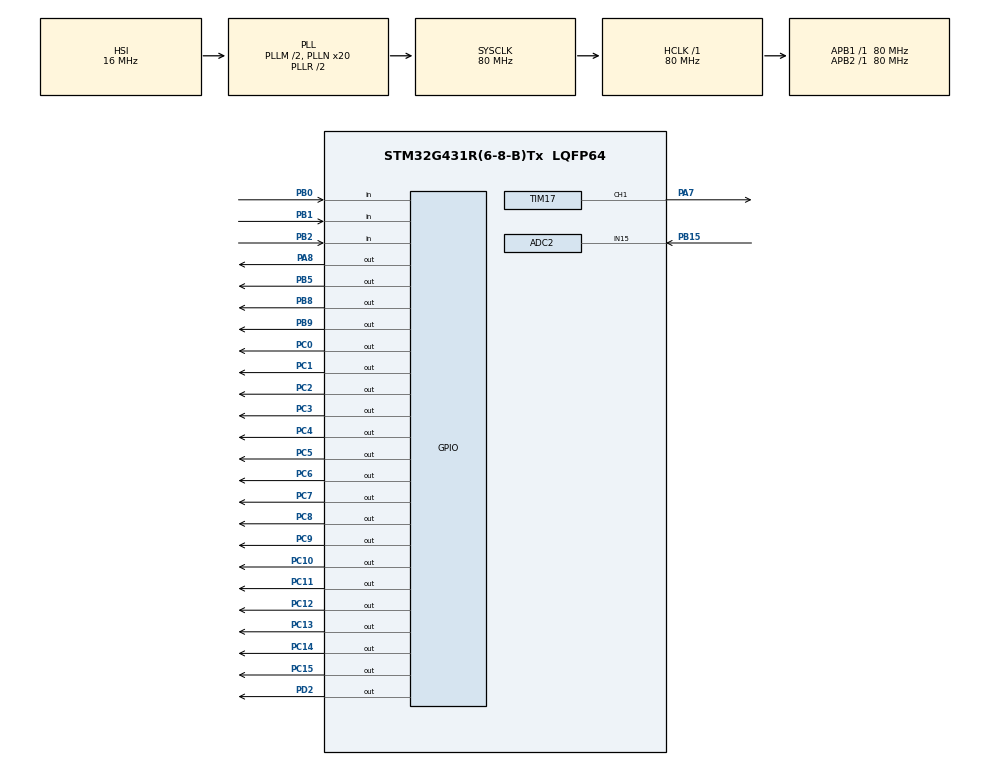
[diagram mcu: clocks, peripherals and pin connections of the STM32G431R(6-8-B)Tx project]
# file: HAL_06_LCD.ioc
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ADC2.Channel-0\#ChannelRegularConversion=ADC_CHANNEL_15
ADC2.NbrOfConversionFlag=1
ADC2.OffsetNumber-0\#ChannelRegularConversion=ADC_OFFSET_NONE
ADC2.Rank-0\#ChannelRegularConversion=1
ADC2.SamplingTime-0\#ChannelRegularConversion=ADC_SAMPLETIME_2CYCLES_5
Mcu.Family=STM32G4
Mcu.Name=STM32G431R(6-8-B)Tx
Mcu.Package=LQFP64
NVIC.PriorityGroup=NVIC_PRIORITYGROUP_4
NVIC.TIM3_IRQn=true\:0\:0\:false\:false\:true\:true\:true\:true
NVIC.TIM4_IRQn=true\:0\:0\:false\:false\:true\:true\:true\:true
PA7.Signal=S_TIM17_CH1
PA8.Signal=GPIO_Output
PB0.GPIO_Mode=GPIO_MODE_INPUT
PB0.GPIO_PuPd=GPIO_PULLUP
PB0.Signal=GPIO_Input
PB1.GPIO_Mode=GPIO_MODE_INPUT
PB1.GPIO_PuPd=GPIO_PULLUP
PB1.Signal=GPIO_Input
PB15.Mode=IN15-Single-Ended
PB15.Signal=ADC2_IN15
PB2.GPIO_Mode=GPIO_MODE_INPUT
PB2.GPIO_PuPd=GPIO_PULLUP
PB2.Signal=GPIO_Input
PB5.Signal=GPIO_Output
PB8-BOOT0.Signal=GPIO_Output
PB9.Signal=GPIO_Output
PC0.Signal=GPIO_Output
PC1.Signal=GPIO_Output
PC10.Signal=GPIO_Output
PC11.Signal=GPIO_Output
PC12.Signal=GPIO_Output
PC13.Signal=GPIO_Output
PC14-OSC32_IN.Signal=GPIO_Output
PC15-OSC32_OUT.Signal=GPIO_Output
PC2.Signal=GPIO_Output
PC3.Signal=GPIO_Output
PC4.Signal=GPIO_Output
PC5.Signal=GPIO_Output
PC6.Signal=GPIO_Output
PC7.Signal=GPIO_Output
PC8.Signal=GPIO_Output
PC9.Signal=GPIO_Output
PD2.Signal=GPIO_Output
PF0-OSC_IN.Mode=HSE-External-Oscillator
PF0-OSC_IN.Signal=RCC_OSC_IN
PF1-OSC_OUT.Mode=HSE-External-Oscillator
PF1-OSC_OUT.Signal=RCC_OSC_OUT
ProjectManager.HeapSize=0x200
ProjectManager.StackSize=0x400
ProjectManager.TargetToolchain=MDK-ARM V5.27
RCC.ADC12Freq_Value=80000000
RCC.AHBFreq_Value=80000000
RCC.APB1Freq_Value=80000000
RCC.APB1TimFreq_Value=80000000
RCC.APB2Freq_Value=80000000
RCC.APB2TimFreq_Value=80000000
RCC.CortexFreq_Value=80000000
RCC.EXTERNAL_CLOCK_VALUE=12288000
RCC.HCLKFreq_Value=80000000
RCC.HSE_VALUE=24000000
RCC.HSI48_VALUE=48000000
RCC.HSI_VALUE=16000000
RCC.LSE_VALUE=32768
RCC.PLLM=RCC_PLLM_DIV2
RCC.PLLN=20
RCC.SYSCLKFreq_VALUE=80000000
RCC.SYSCLKSource=RCC_SYSCLKSOURCE_PLLCLK
RCC.USBFreq_Value=80000000
RCC.VCOOutputFreq_Value=160000000
SH.S_TIM17_CH1.0=TIM17_CH1,PWM Generation1 CH1
TIM17.Channel=TIM_CHANNEL_1
TIM17.PeriodNoDither=100-1
TIM17.Prescaler=8000-1
TIM17.PulseNoDither_1=50
TIM3.PeriodNoDither=10000-1
TIM3.Prescaler=80-1
TIM4.PeriodNoDither=10000-1
TIM4.Prescaler=80-1
VP_SYS_VS_DBSignals.Mode=DisableDeadBatterySignals
VP_TIM17_VS_ClockSourceINT.Mode=Enable_Timer
VP_TIM3_VS_ClockSourceINT.Mode=Internal
VP_TIM4_VS_ClockSourceINT.Mode=Internal
board=custom

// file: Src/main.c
/* USER CODE BEGIN Header */
/**
  ******************************************************************************
  * @file           : main.c
  * @brief          : Main program body
  ******************************************************************************
  * @attention
  *
  * <h2><center>&copy; Copyright (c) 2021 STMicroelectronics.
  * All rights reserved.</center></h2>
  *
  * This software component is licensed by ST under BSD 3-Clause license,
  * the "License"; You may not use this file except in compliance with the
  * License. You may obtain a copy of the License at:
  *                        opensource.org/licenses/BSD-3-Clause
  *
  ******************************************************************************
  */
/* USER CODE END Header */
#include "main.h"
#include "adc.h"
#include "tim.h"
#include "gpio.h"

/* USER CODE BEGIN PV */
extern keys key[3];

uint16_t freq=1000;
bool lock_flag=0;

uint8_t duty=0;

extern bool ld2_flag;
uint8_t ld2_sta=0;

/* USER CODE END PV */

void SystemClock_Config(void);
/* USER CODE BEGIN PFP */
void key_proc(void);
void disp_proc(void);
void pwm_proc(void);
void led_proc(void);
/* USER CODE END PFP */

int main(void)
{

  /* MCU Configuration--------------------------------------------------------*/

  /* Reset of all peripherals, Initializes the Flash interface and the Systick. */
  HAL_Init();

  /* Configure the system clock */
  SystemClock_Config();

  /* Initialize all configured peripherals */
  MX_GPIO_Init();
  MX_TIM3_Init();
  MX_TIM17_Init();
  MX_ADC2_Init();
  MX_TIM4_Init();
  /* USER CODE BEGIN 2 */

	LCD_Init();
	HAL_TIM_Base_Start_IT(&htim3);
	HAL_TIM_PWM_Start(&htim17,TIM_CHANNEL_1);
	pwm_proc();

  /* USER CODE END 2 */

  /* Infinite loop */
  /* USER CODE BEGIN WHILE */

	LCD_Clear(Black);
	LCD_SetBackColor(Black);
	LCD_SetTextColor(White);

  while (1)
  {
    /* USER CODE END WHILE */

    /* USER CODE BEGIN 3 */
	  disp_proc();
		key_proc();
		pwm_proc();
		led_proc();
  }
  /* USER CODE END 3 */
}

void SystemClock_Config(void)
{
  RCC_OscInitTypeDef RCC_OscInitStruct = {0};
  RCC_ClkInitTypeDef RCC_ClkInitStruct = {0};

  /** Configure the main internal regulator output voltage
  */
  HAL_PWREx_ControlVoltageScaling(PWR_REGULATOR_VOLTAGE_SCALE1);

  /** Initializes the RCC Oscillators according to the specified parameters
  * in the RCC_OscInitTypeDef structure.
  */
  RCC_OscInitStruct.OscillatorType = RCC_OSCILLATORTYPE_HSI;
  RCC_OscInitStruct.HSIState = RCC_HSI_ON;
  RCC_OscInitStruct.HSICalibrationValue = RCC_HSICALIBRATION_DEFAULT;
  RCC_OscInitStruct.PLL.PLLState = RCC_PLL_ON;
  RCC_OscInitStruct.PLL.PLLSource = RCC_PLLSOURCE_HSI;
  RCC_OscInitStruct.PLL.PLLM = RCC_PLLM_DIV2;
  RCC_OscInitStruct.PLL.PLLN = 20;
  RCC_OscInitStruct.PLL.PLLP = RCC_PLLP_DIV2;
  RCC_OscInitStruct.PLL.PLLQ = RCC_PLLQ_DIV2;
  RCC_OscInitStruct.PLL.PLLR = RCC_PLLR_DIV2;
  if (HAL_RCC_OscConfig(&RCC_OscInitStruct) != HAL_OK)
  {
    Error_Handler();
  }

  /** Initializes the CPU, AHB and APB buses clocks
  */
  RCC_ClkInitStruct.ClockType = RCC_CLOCKTYPE_HCLK|RCC_CLOCKTYPE_SYSCLK
                              |RCC_CLOCKTYPE_PCLK1|RCC_CLOCKTYPE_PCLK2;
  RCC_ClkInitStruct.SYSCLKSource = RCC_SYSCLKSOURCE_PLLCLK;
  RCC_ClkInitStruct.AHBCLKDivider = RCC_SYSCLK_DIV1;
  RCC_ClkInitStruct.APB1CLKDivider = RCC_HCLK_DIV1;
  RCC_ClkInitStruct.APB2CLKDivider = RCC_HCLK_DIV1;

  if (HAL_RCC_ClockConfig(&RCC_ClkInitStruct, FLASH_LATENCY_2) != HAL_OK)
  {
    Error_Handler();
  }
}

/* USER CODE BEGIN 4 */
void key_proc()
{
	if(key[0].key_single==1)
	{
		if(lock_flag==0)
		{
			freq+=1000;
			if(freq>10000)
				freq=10000;
		}
		key[0].key_single=0;
	}
	if(key[1].key_single==1)
	{
		if(lock_flag==0)
		{
			freq-=1000;
			if(freq<1000)
				freq=1000;
		}
		key[1].key_single=0;
	}
	if(key[2].key_single==1)
	{
		lock_flag=!lock_flag;
		key[2].key_single=0;
	}
}

void disp_proc()
{
	char text[20];
	sprintf(text,"     DATA     ");
	LCD_DisplayStringLine(Line1, (uint8_t *)text);
	sprintf(text,"   Volt:%.2fV     ",get_adc(&hadc2));
	LCD_DisplayStringLine(Line3, (uint8_t *)text);
	sprintf(text,"   D:%d%%     ",duty);
	LCD_DisplayStringLine(Line4, (uint8_t *)text);
	sprintf(text,"   F:%dHz     ",freq);
	LCD_DisplayStringLine(Line5, (uint8_t *)text);
}

void pwm_proc()
{
	if(get_adc(&hadc2)<1)
		duty=40;
	else if(get_adc(&hadc2)>2)
		duty=80;
	else
		duty=(int)(get_adc(&hadc2)*40)/1;

	__HAL_TIM_SetClockDivision(&htim17,((80000000/freq)-1));
	__HAL_TIM_SetCompare(&htim17,TIM_CHANNEL_1,duty);
}

void led_proc()
{
	led_init();
	if(lock_flag==1)
		ld1_on();
	else
		ld1_off();
	switch(ld2_sta)
	{
		case 0:
		{
			if(get_adc(&hadc2)>1)
			{
				ld2_sta=1;
				HAL_TIM_Base_Start_IT(&htim4);
			}
		};break;
		case 1:
		{
			if(get_adc(&hadc2)>1)
			{
				ld2(ld2_flag);
			}
			else
				ld2_sta=0;
		};break;
	}
}
/* USER CODE END 4 */

void Error_Handler(void)
{
}
